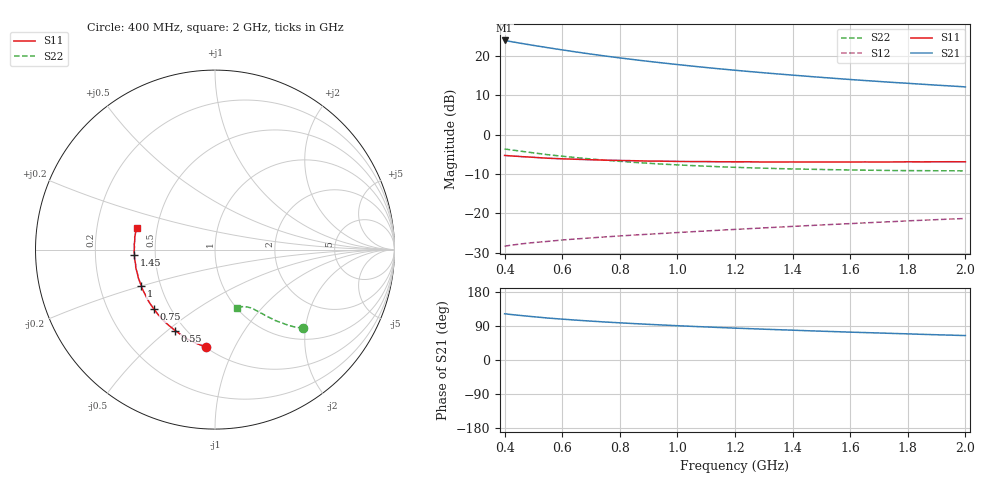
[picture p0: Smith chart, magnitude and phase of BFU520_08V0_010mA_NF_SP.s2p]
! Filename:  P:\Prog\Test\Noise\ATS_data\Testdata_Net\06 Compressed Noise after Statistics\BFU520_APG2013_37_A05_08p0V_010mA_NF_CM01_D.sf
! Date/Time: Fri 26/Apr/2013 14:13:12
! BFU520_APG2013_37_A05_08p0V_1to20mA_NF_CM01_Bias6_R.sf
! Noise Parameter Data File
! BFU520_APG2013_37_A05_08p0V_1to20mA_NF_CM01
! Date/time: Tue Apr 23 18:16:22 2013
! VAR V_out= 8.000000
! VAR I_out= 10.000000
! VAR V_in= 0.826400
! VAR I_in= 0.110205
! Device data file deembeded for feedlines and parallel
! Original file: \06 Compressed Noise after Statistics\BFU520_APG2013_37_A05_08p0V_010mA_NF_CM01_R.sf
! Feed-files: PR047V01_250413_Feed1.s2p, PR047V01_250413_Feed2.s2p
! Parallel-file: PR047V01_250413_Par.s2p
# MHz S MA R 50
!  Freq-MHz  S11-mag  S11-arg  S21-mag  S21-arg  S12-mag  S12-arg  S22-mag  S22-arg
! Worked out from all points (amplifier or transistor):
!   37 points, 400 MHz to 2 GHz, reference 50 ohm
!   highest |S21| = 23.9 dB at 400 MHz (marker M1)
!   |S21| within 3 dB of that: start of sweep to 655.6 MHz
!   unconditionally stable (mu >= 1): 1.837 GHz to end of sweep
!   at 500 MHz: K = 0.47, MSG = 25.1 dB, |S12| = -27.4 dB
!   at 1.1 GHz: K = 0.81, MSG = 20.8 dB, |S12| = -24.5 dB
!   at 2 GHz: K = 1.03, MAG = 15.7 dB, |S12| = -21.3 dB
!   lowest NFmin = 0.87 dB at 440 MHz
!   S11 on the Smith chart (normalised r, x): 400 MHz: 0.50, -0.78; 550 MHz: 0.44, -0.53; 750 MHz: 0.41, -0.35; 1 GHz: 0.39, -0.20; 1.45 GHz: 0.38, -0.03; 2 GHz: 0.38, +0.12
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400  0.5452 -95.2  15.75 122.0  0.03837 53.5  0.6588 -41.6
433  0.5342 -100.2  15 119.2  0.0399 52.5  0.6336 -43.2
460  0.5264 -104.2  14.42 117.1  0.04109 51.6  0.6153 -44.4
500  0.516 -109.6  13.63 114.2  0.0426 50.7  0.5884 -45.9
550  0.5027 -116.2  12.75 110.7  0.04415 49.8  0.5569 -47.4
600  0.4941 -121.7  11.96 107.8  0.04594 49.2  0.5333 -48.8
650  0.4874 -126.9  11.23 105.1  0.04747 48.7  0.5111 -50.0
700  0.4807 -131.5  10.57 102.6  0.04889 48.5  0.4913 -50.9
750  0.4747 -136.1  9.986 100.2  0.05033 48.3  0.4745 -51.9
800  0.4708 -140.0  9.457 98.1  0.05173 48.3  0.4588 -52.8
850  0.4671 -143.8  8.98 96.0  0.05312 48.3  0.4452 -53.5
900  0.4624 -147.6  8.542 94.1  0.05443 48.3  0.4337 -54.3
950  0.4608 -150.8  8.149 92.3  0.05579 48.5  0.4226 -54.9
1000  0.4577 -153.7  7.785 90.5  0.05717 48.7  0.4137 -55.5
1050  0.4556 -157.1  7.449 88.8  0.0585 48.8  0.4055 -56.3
1200  0.4523 -165.1  6.589 84.1  0.06265 49.4  0.3854 -58.2
1300  0.4498 -169.7  6.12 81.3  0.06548 49.9  0.3755 -59.3
1450  0.4494 -176.4  5.526 77.3  0.06987 50.5  0.3645 -61.2
1500  0.4505 -178.2  5.349 76.0  0.07131 50.6  0.3616 -61.9
1600  0.4494 177.7  5.025 73.5  0.07421 50.9  0.3565 -63.2
1750  0.4508 172.4  4.612 70.1  0.07873 51.4  0.3506 -65.3
2000  0.4525 164.7  4.047 64.5  0.08618 51.8  0.3472 -69.1
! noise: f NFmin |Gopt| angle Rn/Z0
400  0.9437  0.03365  109.4  0.1124
460  0.8894  0.04381  168.7  0.0996
600  0.9408  0.02782  107.4  0.1153
800  0.9254  0.06769  145.4  0.1004
1000  0.9563  0.08857  150.4  0.0956
1200  0.9982  0.1027  156.2  0.0948
1400  1.026  0.1249  158.8  0.0881
1600  1.033  0.1318  166.6  0.0931
1800  1.031  0.157  178.6  0.0874
2000  1.098  0.1559  -178.6  0.097
